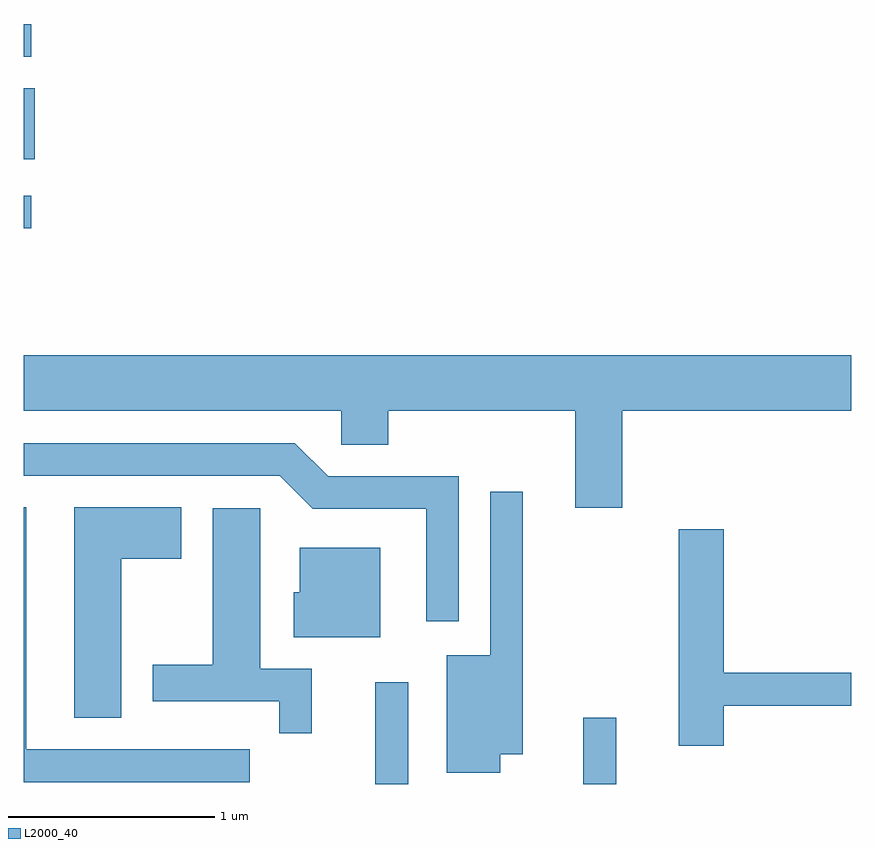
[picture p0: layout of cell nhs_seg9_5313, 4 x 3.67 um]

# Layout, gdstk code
import gdstk
lib = gdstk.Library(unit=1e-6, precision=1e-09)
def R(c, l, rs):  # rectangles x0, y0, x1, y1
    for r in rs: c.add(gdstk.rectangle(r[:2], r[2:], *l))
def P(c, l, *ps):  # polygons
    for p in ps: c.add(gdstk.Polygon(p, *l))
L2000_40 = (2000, 40)

nhs_seg9_5313 = lib.new_cell('nhs_seg9_5313')
R(nhs_seg9_5313, L2000_40, [(343.311,2014.432,343.469,2014.923), (344.316,2014.432,344.474,2014.753), (341.611,2017.116,341.648,2017.274), (341.611,2017.451,341.664,2017.794), (341.611,2017.946,341.648,2018.104)])
P(nhs_seg9_5313, L2000_40, [(344.504,2016.236),(345.611,2016.236),(345.611,2016.504),(341.611,2016.504),(341.611,2016.236),(343.146,2016.236),(343.146,2016.071),(343.374,2016.071),(343.374,2016.236),(344.276,2016.236),(344.276,2015.766),(344.504,2015.766)],
  [(343.714,2015.919),(343.082,2015.919),(342.922,2016.079),(341.611,2016.079),(341.611,2015.921),(342.849,2015.921),(343.009,2015.761),(343.556,2015.761),(343.556,2015.218),(343.714,2015.218)],
  [(343.914,2014.576),(344.024,2014.576),(344.024,2015.843),(343.866,2015.843),(343.866,2015.054),(343.656,2015.054),(343.656,2014.486),(343.914,2014.486)],
  [(342.703,2014.599),(341.624,2014.599),(341.624,2015.769),(341.611,2015.769),(341.611,2014.441),(342.703,2014.441)],
  [(342.084,2015.521),(342.374,2015.521),(342.374,2015.769),(341.856,2015.769),(341.856,2014.751),(342.084,2014.751)],
  [(343.004,2014.989),(342.754,2014.989),(342.754,2015.764),(342.526,2015.764),(342.526,2015.009),(342.236,2015.009),(342.236,2014.831),(342.846,2014.831),(342.846,2014.678),(343.004,2014.678)],
  [(344.994,2014.811),(345.611,2014.811),(345.611,2014.969),(344.994,2014.969),(344.994,2015.664),(344.776,2015.664),(344.776,2014.616),(344.994,2014.616)],
  [(343.334,2015.574),(342.946,2015.574),(342.946,2015.359),(342.916,2015.359),(342.916,2015.141),(343.334,2015.141)])

lib.write_gds('nhs_seg9_5313.gds')
